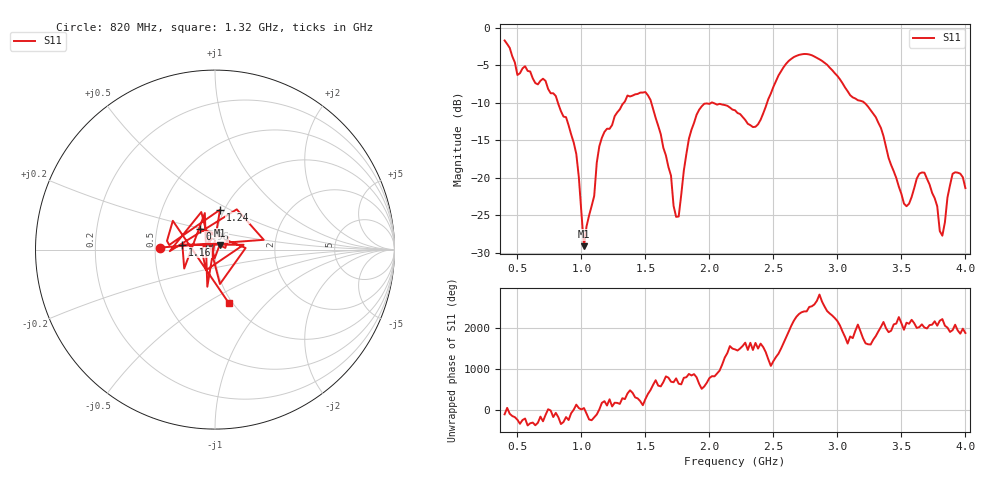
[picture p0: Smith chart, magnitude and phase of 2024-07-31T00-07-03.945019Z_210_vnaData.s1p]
!Created with skrf (http://scikit-rf.org).
# Hz S RI R 50.0
!freq ReS11 ImS11
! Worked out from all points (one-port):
!   181 points, 400 MHz to 4 GHz, reference 50 ohm
!   lowest |S11| = -29.2 dB at 1.02 GHz (marker M1), VSWR 1.07, Z = 52.5 + j2.53 ohm
!   |S11| at or under -10 dB: 816 MHz to 1.333 GHz (517.1 MHz wide, 48.1 % of centre); 1.546 GHz to 2.018 GHz (472.6 MHz wide, 26.5 % of centre); 3.208 GHz to end of sweep (the widest 3 of 4)
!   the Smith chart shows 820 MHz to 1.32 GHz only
!   S11 on the Smith chart (normalised r, x): 820 MHz: 0.53, +0.01; 960 MHz: 0.82, +0.19; 1.16 GHz: 0.69, +0.04; 1.24 GHz: 0.96, +0.45; 1.32 GHz: 0.96, -0.63
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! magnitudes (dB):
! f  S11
! 400 MHz  -1.7
! 500 MHz  -6.3
! 700 MHz  -6.8
! 820 MHz  -10.2
! 860 MHz  -11.9
! 960 MHz  -16.8
! 1.02 GHz  -29.2
! 1.1 GHz  -22.5
! 1.16 GHz  -14.7
! 1.24 GHz  -13.0
! 1.3 GHz  -10.9
! 1.32 GHz  -10.3
! 1.54 GHz  -9.7
! 1.76 GHz  -25.2
! 1.84 GHz  -14.8
! 1.92 GHz  -11.0
! 2.2 GHz  -11.0
! 2.36 GHz  -13.2
! 2.66 GHz  -3.9
! 2.88 GHz  -4.5
! 3.1 GHz  -9.0
! 3.3 GHz  -12.0
! 3.52 GHz  -23.5
! 3.56 GHz  -23.5
! 3.68 GHz  -19.4
! 3.82 GHz  -27.8
! 3.9 GHz  -19.5
! 4 GHz  -21.4
